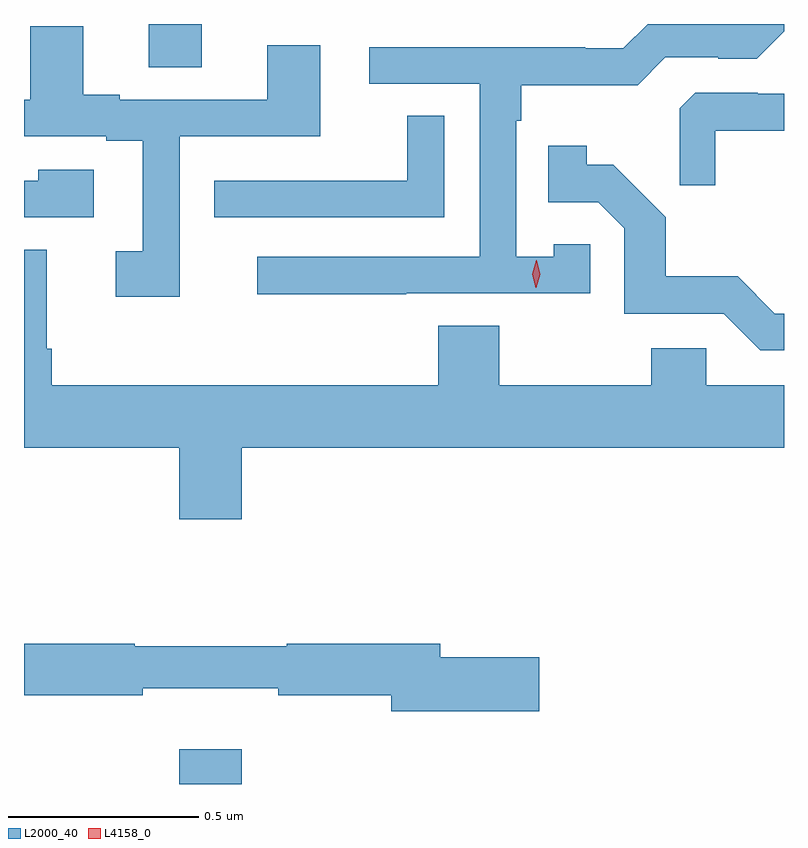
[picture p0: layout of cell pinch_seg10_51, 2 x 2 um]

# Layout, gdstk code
import gdstk
lib = gdstk.Library(unit=1e-6, precision=1e-09)
def R(c, l, rs):  # rectangles x0, y0, x1, y1
    for r in rs: c.add(gdstk.rectangle(r[:2], r[2:], *l))
def P(c, l, *ps):  # polygons
    for p in ps: c.add(gdstk.Polygon(p, *l))
L2000_40 = (2000, 40)
L4158_0 = (4158, 0)

pinch_seg10_51 = lib.new_cell('pinch_seg10_51')
R(pinch_seg10_51, L2000_40, [(860.312,1300.763,860.476,1300.855), (860.231,1302.649,860.371,1302.763)])
P(pinch_seg10_51, L2000_40, [(860.909,1302.054),(861.393,1302.054),(861.393,1302.183),(861.297,1302.183),(861.297,1302.151),(861.198,1302.151),(861.198,1302.509),(861.211,1302.509),(861.211,1302.602),(861.518,1302.602),(861.591,1302.675),(861.73,1302.675),(861.73,1302.672),(861.831,1302.672),(861.903,1302.744),(861.903,1302.763),(861.544,1302.763),(861.48,1302.699),(861.38,1302.699),(861.38,1302.702),(860.811,1302.702),(860.811,1302.606),(861.102,1302.606),(861.102,1302.15),(860.517,1302.15),(860.517,1302.052),(860.909,1302.052)],
  [(860.313,1302.468),(860.683,1302.468),(860.683,1302.707),(860.543,1302.707),(860.543,1302.564),(860.155,1302.564),(860.155,1302.577),(860.059,1302.577),(860.059,1302.757),(859.919,1302.757),(859.919,1302.564),(859.903,1302.564),(859.903,1302.468),(860.12,1302.468),(860.12,1302.456),(860.216,1302.456),(860.216,1302.165),(860.145,1302.165),(860.145,1302.045),(860.313,1302.045)],
  [(861.722,1302.482),(861.903,1302.482),(861.903,1302.579),(861.834,1302.579),(861.834,1302.582),(861.669,1302.582),(861.628,1302.541),(861.628,1302.339),(861.722,1302.339)],
  [(861.009,1302.521),(860.911,1302.521),(860.911,1302.351),(860.515,1302.351),(860.515,1302.35),(860.403,1302.35),(860.403,1302.255),(861.009,1302.255)],
  [(861.903,1302),(861.879,1302),(861.781,1302.099),(861.592,1302.099),(861.592,1302.254),(861.454,1302.392),(861.384,1302.392),(861.384,1302.442),(861.283,1302.442),(861.283,1302.294),(861.414,1302.294),(861.483,1302.225),(861.483,1302),(861.744,1302),(861.84,1301.904),(861.903,1301.904)],
  [(860.086,1302.379),(859.941,1302.379),(859.941,1302.351),(859.903,1302.351),(859.903,1302.255),(860.086,1302.255)],
  [(860.476,1301.648),(861.903,1301.648),(861.903,1301.812),(861.699,1301.812),(861.699,1301.91),(861.553,1301.91),(861.553,1301.812),(861.153,1301.812),(861.153,1301.969),(860.993,1301.969),(860.993,1301.812),(859.976,1301.812),(859.976,1301.908),(859.963,1301.908),(859.963,1302.169),(859.903,1302.169),(859.903,1301.648),(860.312,1301.648),(860.312,1301.46),(860.476,1301.46)],
  [(861.259,1301.096),(860.998,1301.096),(860.998,1301.132),(860.594,1301.132),(860.594,1301.125),(860.194,1301.125),(860.194,1301.132),(859.903,1301.132),(859.903,1300.996),(860.216,1300.996),(860.216,1301.015),(860.572,1301.015),(860.572,1300.996),(860.87,1300.996),(860.87,1300.954),(861.259,1300.954)])
P(pinch_seg10_51, L4158_0, [(861.25,1302.069),(861.241,1302.105),(861.251,1302.141),(861.252,1302.141),(861.252,1302.141),(861.261,1302.105),(861.251,1302.069),(861.251,1302.069)])

lib.write_gds('pinch_seg10_51.gds')
